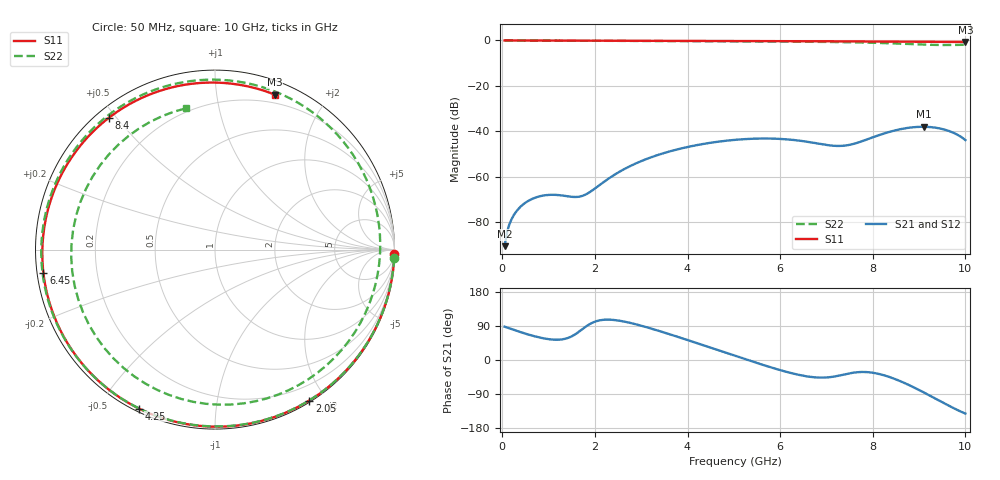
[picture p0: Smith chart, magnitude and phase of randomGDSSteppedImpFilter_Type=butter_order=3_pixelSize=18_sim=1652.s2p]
! freq	dB(S11)	phase(S11)	dB(S12)	phase(S12)
!  dB(S21)	phase(S21)	dB(S22)	phase(S22)
!S-par simulation data
#  GHz  S  DB  R 50
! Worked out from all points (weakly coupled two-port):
!   200 points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, 50 MHz to 10 GHz, reference 50 ohm
!   highest |S21| = -37.98 dB at 9.1 GHz (marker M1); lowest = -90.5 dB at 50 MHz (marker M2)
!   lowest |S11| = -0.7 dB at 10 GHz (marker M3), VSWR 25.73, Z = 6.04 + j72.4 ohm
!   |S11| at or under -10 dB: nowhere
!   |S22| runs from -2.0 to 0.0 dB; largest |S21 - S12| = 0
!   S11 on the Smith chart (normalised r, x): 50 MHz: 1, -78; 2.05 GHz: 0.02, -1.80; 4.25 GHz: 0.01, -0.63; 6.45 GHz: 0.02, -0.07; 8.4 GHz: 0.04, +0.48; 10 GHz: 0.12, +1.45
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0.05  -0.00 -1.5  -90.50 88.0  -90.50 88.0  -0.00 -2.8
0.15  -0.01 -4.4  -81.06 83.9  -81.06 83.9  -0.01 -8.4
0.75  -0.03 -21.6  -68.90 61.0  -68.90 61.0  -0.06 -41.4
1.25  -0.05 -35.8  -68.10 53.8  -68.10 53.8  -0.10 -67.6
1.75  -0.06 -49.8  -68.23 83.3  -68.23 83.3  -0.13 -92.3
2.05  -0.07 -58.0  -64.40 103.1  -64.40 103.1  -0.15 -106.4
2.75  -0.10 -76.8  -55.38 98.3  -55.38 98.3  -0.21 -137.6
3.4  -0.12 -93.8  -50.12 76.1  -50.12 76.1  -0.25 -165.1
4.25  -0.16 -115.5  -45.85 42.6  -45.85 42.6  -0.33 159.2
5.05  -0.20 -135.8  -43.68 10.1  -43.68 10.1  -0.40 123.9
5.8  -0.26 -155.0  -43.17 -19.4  -43.17 -19.4  -0.48 87.4
6.45  -0.31 -172.3  -44.18 -40.4  -44.18 -40.4  -0.56 52.0
6.7  -0.33 -179.2  -44.96 -45.2  -44.96 -45.2  -0.60 37.1
7.15  -0.38 168.0  -46.33 -44.0  -46.33 -44.0  -0.69 8.5
7.55  -0.42 156.1  -45.69 -34.1  -45.69 -34.1  -0.81 -19.3
8  -0.47 142.0  -42.62 -33.6  -42.62 -33.6  -1.01 -54.0
8.35  -0.51 130.4  -40.27 -44.5  -40.27 -44.5  -1.23 -84.2
8.4  -0.51 128.7  -39.99 -46.6  -39.99 -46.6  -1.27 -88.8
8.75  -0.55 116.5  -38.49 -64.3  -38.49 -64.3  -1.54 -122.7
9.1  -0.59 103.8  -37.98 -85.5  -37.98 -85.5  -1.82 -160.0
9.5  -0.63 88.6  -38.95 -111.4  -38.95 -111.4  -2.00 155.0
10  -0.68 69.0  -43.84 -141.3  -43.84 -141.3  -1.90 101.5
